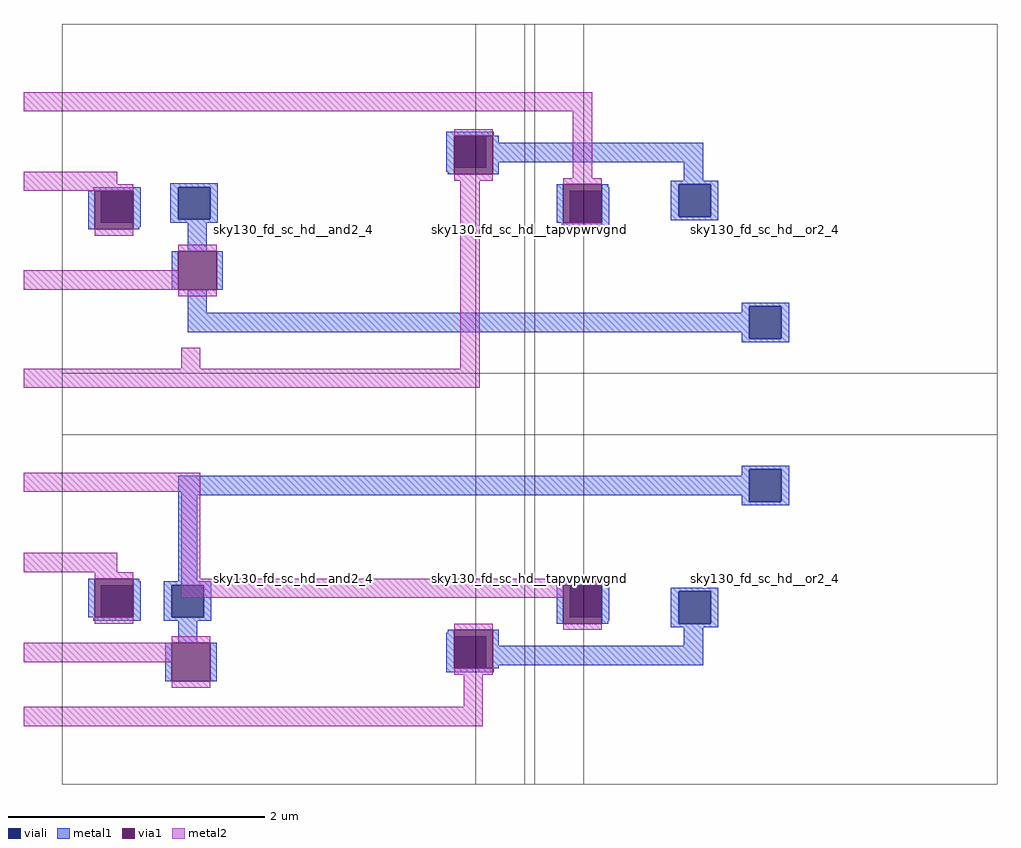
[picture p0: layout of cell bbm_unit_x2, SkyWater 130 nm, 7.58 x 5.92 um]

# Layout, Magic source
magic
tech sky130A
magscale 1 2
<< viali >>
rect -220 940 -170 990
rect -770 854 -720 904
rect -650 860 -600 910
rect -40 854 10 904
rect 130 864 180 914
rect 240 674 290 724
rect 240 420 290 470
rect -770 240 -720 290
rect -660 240 -610 290
rect -40 240 10 290
rect 130 230 180 280
rect -220 160 -170 210
<< metal1 >>
rect -232 990 -158 996
rect -232 934 -220 990
rect -160 979 -150 990
rect -160 949 168 979
rect -230 930 -220 934
rect -160 930 -150 949
rect 138 920 168 949
rect -662 910 -588 916
rect 118 914 192 920
rect -782 904 -708 910
rect -790 844 -780 904
rect -720 848 -708 904
rect -662 860 -650 910
rect -600 860 -588 910
rect -662 854 -588 860
rect -60 854 -50 914
rect 10 910 20 914
rect 10 854 22 910
rect 118 864 130 914
rect 180 864 192 914
rect 118 858 192 864
rect -720 844 -710 848
rect -635 810 -605 854
rect -52 848 22 854
rect -660 750 -650 810
rect -590 750 -580 810
rect -635 714 -605 750
rect 228 724 302 730
rect 228 714 240 724
rect -635 684 240 714
rect 228 674 240 684
rect 290 674 302 724
rect 228 668 302 674
rect 228 470 302 476
rect 228 460 240 470
rect -650 430 240 460
rect -790 240 -780 300
rect -720 296 -710 300
rect -650 296 -620 430
rect 228 420 240 430
rect 290 420 302 470
rect 228 414 302 420
rect -720 240 -708 296
rect -782 234 -708 240
rect -672 290 -598 296
rect -52 290 22 296
rect -672 240 -660 290
rect -610 240 -598 290
rect -672 234 -598 240
rect -650 200 -620 234
rect -60 230 -50 290
rect 10 234 22 290
rect 118 280 192 286
rect 10 230 20 234
rect 118 230 130 280
rect 180 230 192 280
rect 118 224 192 230
rect -230 216 -220 220
rect -670 140 -660 200
rect -600 140 -590 200
rect -232 160 -220 216
rect -160 195 -150 220
rect 138 195 168 224
rect -160 165 168 195
rect -160 160 -150 165
rect -232 154 -158 160
<< via1 >>
rect -220 940 -170 990
rect -170 940 -160 990
rect -220 930 -160 940
rect -780 854 -770 904
rect -770 854 -720 904
rect -780 844 -720 854
rect -50 904 10 914
rect -50 854 -40 904
rect -40 854 10 904
rect -650 750 -590 810
rect -780 290 -720 300
rect -780 240 -770 290
rect -770 240 -720 290
rect -50 240 -40 290
rect -40 240 10 290
rect -50 230 10 240
rect -660 140 -600 200
rect -220 210 -160 220
rect -220 160 -170 210
rect -170 160 -160 210
<< metal2 >>
rect -890 1028 -5 1058
rect -220 990 -160 1000
rect -890 914 -745 934
rect -220 920 -160 930
rect -35 924 -5 1028
rect -890 904 -720 914
rect -780 834 -720 844
rect -650 810 -590 820
rect -890 750 -650 780
rect -650 740 -590 750
rect -645 627 -615 660
rect -210 627 -180 920
rect -50 914 10 924
rect -50 844 10 854
rect -890 597 -180 627
rect -890 435 -615 465
rect -890 310 -745 340
rect -780 300 -720 310
rect -645 300 -615 435
rect -645 290 10 300
rect -645 270 -50 290
rect -780 230 -720 240
rect -220 220 -160 230
rect -50 220 10 230
rect -660 200 -600 210
rect -890 170 -660 200
rect -220 150 -160 160
rect -660 130 -600 140
rect -205 100 -175 150
rect -890 70 -175 100
use sky130_fd_sc_hd__and2_4  sky130_fd_sc_hd__and2_4_0 $PDKPATH/libs.ref/sky130_fd_sc_hd/mag
transform 1 0 -792 0 -1 1116
box -38 -48 682 592
use sky130_fd_sc_hd__and2_4  sky130_fd_sc_hd__and2_4_1
transform 1 0 -792 0 1 28
box -38 -48 682 592
use sky130_fd_sc_hd__or2_4  sky130_fd_sc_hd__or2_4_0 $PDKPATH/libs.ref/sky130_fd_sc_hd/mag
transform 1 0 -56 0 -1 1116
box -38 -48 682 592
use sky130_fd_sc_hd__or2_4  sky130_fd_sc_hd__or2_4_1
transform 1 0 -56 0 1 28
box -38 -48 682 592
use sky130_fd_sc_hd__tapvpwrvgnd_1  sky130_fd_sc_hd__tapvpwrvgnd_1_0 $PDKPATH/libs.ref/sky130_fd_sc_hd/mag
transform 1 0 -148 0 -1 1116
box -38 -48 130 592
use sky130_fd_sc_hd__tapvpwrvgnd_1  sky130_fd_sc_hd__tapvpwrvgnd_1_1
transform 1 0 -148 0 1 28
box -38 -48 130 592
<< end >>
